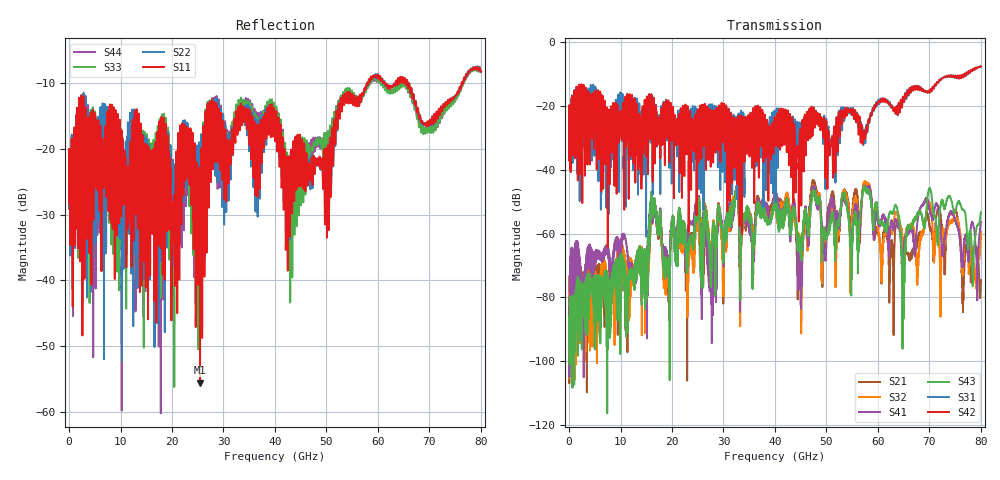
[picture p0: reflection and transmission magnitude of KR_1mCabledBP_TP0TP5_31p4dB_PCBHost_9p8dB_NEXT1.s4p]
!! Reference: shanbhag_3dj_02_2305.pdf
!! CHANNEL DESCRIPTION: TP0_TP5 KR Channel using 1meter Cabled BP, PCB Host
!! CABLE DESCRIPTION: 1meter 26AWG Cable
!! MODEL STATUS: Developmental
!! PORT DEFINITIONS:
!! Port  1  ----->  Side A  Side B  <-----  Port  2
!! Port  3  ----->  Side A  Side B  <-----  Port  4
# HZ S MA R 50.000000
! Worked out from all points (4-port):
!   8000 points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, 10 MHz to 80 GHz, reference 50 ohm
!   strongest paths, dB at 10 MHz, 20.01 GHz, 40.01 GHz, 60.01 GHz, 80 GHz:
!     S42: -26.8, -30.2, -24.9, -18.9, -7.6
!     S31: -26.7, -29.2, -23.9, -18.4, -7.6
!     S43: -96.0, -58.6, -49.5, -53.6, -53.3
!     S41: -89.0, -57.6, -47.5, -55.3, -56.4
!     S32: -105.2, -59.1, -49.9, -56.8, -59.6
!     S21: -90.4, -58.6, -48.4, -60.0, -74.6
!   lowest |S11| = -55.6 dB at 25.45 GHz (marker M1), VSWR 1.00, Z = 49.9 + j0.151 ohm
!   |S11| at or under -10 dB: start of sweep to 58.1 GHz; 61.37 GHz to 63.44 GHz (2.067 GHz wide, 3.31 % of centre); 65.73 GHz to 76.25 GHz (10.52 GHz wide, 14.8 % of centre) (the widest 3 of 7)
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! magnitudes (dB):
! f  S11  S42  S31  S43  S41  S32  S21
! 10 MHz  -23.5  -26.8  -26.7  -96.0  -89.0  -105.2  -90.4
! 25.45 GHz  -55.6  -19.9  -22.1  -55.8  -58.8  -56.7  -55.9
! 44.8 GHz  -18.0  -29.6  -25.2  -64.7  -73.4  -64.2  -67.9
! 58.09 GHz  -10.1  -24.9  -24.8  -46.2  -45.2  -44.1  -44.7
! 64.96 GHz  -9.9  -17.7  -17.5  -74.9  -66.5  -67.6  -63.2
! 70.01 GHz  -15.8  -15.7  -15.7  -45.7  -52.1  -50.1  -57.1
! 80 GHz  -8.2  -7.6  -7.6  -53.3  -56.4  -59.6  -74.6
